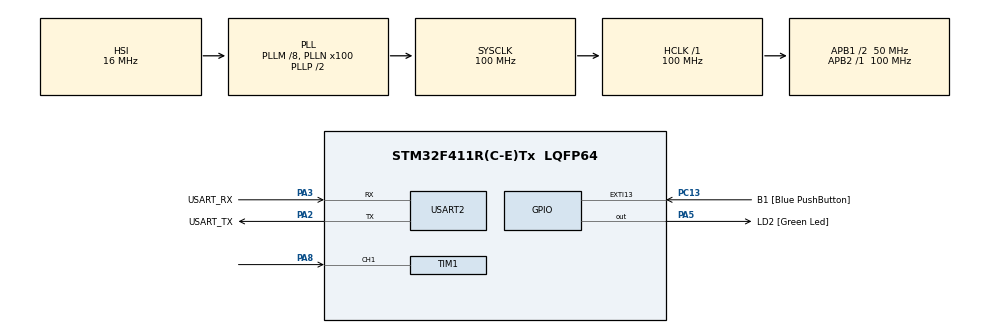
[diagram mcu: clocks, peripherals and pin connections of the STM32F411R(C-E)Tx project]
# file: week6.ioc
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Dma.Request0=TIM1_CH1
Dma.TIM1_CH1.0.Direction=DMA_PERIPH_TO_MEMORY
Dma.TIM1_CH1.0.FIFOMode=DMA_FIFOMODE_DISABLE
Dma.TIM1_CH1.0.Instance=DMA2_Stream1
Dma.TIM1_CH1.0.MemDataAlignment=DMA_MDATAALIGN_HALFWORD
Dma.TIM1_CH1.0.MemInc=DMA_MINC_ENABLE
Dma.TIM1_CH1.0.Mode=DMA_CIRCULAR
Dma.TIM1_CH1.0.PeriphDataAlignment=DMA_PDATAALIGN_HALFWORD
Dma.TIM1_CH1.0.PeriphInc=DMA_PINC_DISABLE
Dma.TIM1_CH1.0.Priority=DMA_PRIORITY_LOW
Mcu.Family=STM32F4
Mcu.Name=STM32F411R(C-E)Tx
Mcu.Package=LQFP64
NVIC.DMA2_Stream1_IRQn=true\:0\:0\:false\:false\:true\:false\:true
NVIC.PriorityGroup=NVIC_PRIORITYGROUP_0
NVIC.TIM1_TRG_COM_TIM11_IRQn=true\:0\:0\:false\:false\:true\:true\:true
PA13.GPIO_Label=TMS
PA13.Mode=Serial_Wire
PA13.Signal=SYS_JTMS-SWDIO
PA14.GPIO_Label=TCK
PA14.Mode=Serial_Wire
PA14.Signal=SYS_JTCK-SWCLK
PA2.GPIO_Label=USART_TX
PA2.Mode=Asynchronous
PA2.Signal=USART2_TX
PA3.GPIO_Label=USART_RX
PA3.Mode=Asynchronous
PA3.Signal=USART2_RX
PA5.GPIO_Label=LD2 [Green Led]
PA5.Signal=GPIO_Output
PA8.Signal=S_TIM1_CH1
PB3.GPIO_Label=SWO
PB3.Signal=SYS_JTDO-SWO
PC13-ANTI_TAMP.GPIO_Label=B1 [Blue PushButton]
PC13-ANTI_TAMP.GPIO_ModeDefaultEXTI=GPIO_MODE_IT_FALLING
PC13-ANTI_TAMP.Signal=GPXTI13
PC14-OSC32_IN.Mode=LSE-External-Oscillator
PC14-OSC32_IN.Signal=RCC_OSC32_IN
PC15-OSC32_OUT.Mode=LSE-External-Oscillator
PC15-OSC32_OUT.Signal=RCC_OSC32_OUT
PH0\ -\ OSC_IN.Mode=HSE-External-Clock-Source
PH0\ -\ OSC_IN.Signal=RCC_OSC_IN
PH1\ -\ OSC_OUT.Mode=HSE-External-Clock-Source
PH1\ -\ OSC_OUT.Signal=RCC_OSC_OUT
ProjectManager.HeapSize=0x200
ProjectManager.StackSize=0x400
ProjectManager.TargetToolchain=STM32CubeIDE
RCC.48MHZClocksFreq_Value=50000000
RCC.AHBFreq_Value=100000000
RCC.APB1CLKDivider=RCC_HCLK_DIV2
RCC.APB1Freq_Value=50000000
RCC.APB1TimFreq_Value=100000000
RCC.APB2Freq_Value=100000000
RCC.APB2TimFreq_Value=100000000
RCC.CortexFreq_Value=100000000
RCC.FLatency-AdvancedSettings=FLASH_LATENCY_3
RCC.HCLKFreq_Value=100000000
RCC.HSE_VALUE=8000000
RCC.HSI_VALUE=16000000
RCC.PLLM=8
RCC.PLLN=100
RCC.SYSCLKFreq_VALUE=100000000
RCC.SYSCLKSource=RCC_SYSCLKSOURCE_PLLCLK
RCC.VCOOutputFreq_Value=200000000
SH.S_TIM1_CH1.0=TIM1_CH1,Input_Capture1_from_TI1
TIM1.Channel-Input_Capture1_from_TI1=TIM_CHANNEL_1
TIM1.ICFilter_CH1=2
TIM1.Prescaler=99
TIM11.Prescaler=99
USART2.VirtualMode=VM_ASYNC
VP_TIM11_VS_ClockSourceINT.Mode=Enable_Timer
VP_TIM1_VS_ClockSourceINT.Mode=Internal
board=NUCLEO-F411RE

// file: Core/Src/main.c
/* USER CODE BEGIN Header */
/**
  ******************************************************************************
  * @file           : main.c
  * @brief          : Main program body
  ******************************************************************************
  * @attention
  *
  * <h2><center>&copy; Copyright (c) 2021 STMicroelectronics.
  * All rights reserved.</center></h2>
  *
  * This software component is licensed by ST under BSD 3-Clause license,
  * the "License"; You may not use this file except in compliance with the
  * License. You may obtain a copy of the License at:
  *                        opensource.org/licenses/BSD-3-Clause
  *
  ******************************************************************************
  */
/* USER CODE END Header */
#include "main.h"

/* USER CODE BEGIN PD */
#define CAPTURENUM 16 //size 16
/* USER CODE END PD */

TIM_HandleTypeDef htim1;
TIM_HandleTypeDef htim11;
DMA_HandleTypeDef hdma_tim1_ch1;

UART_HandleTypeDef huart2;

/* USER CODE BEGIN PV */
//12 P/R, gear reduction 1:64
//DMA Buffer
uint16_t capturedata[CAPTURENUM] = {0};
//for microsecond measurement
uint64_t _micros = 0; //ใส่ _ เพื่อเป็นตัวแปรพิเศษ
//diff time of capture data
int32_t DiffTime[CAPTURENUM-1] = { 0 }; //ใช้ int เพื่อรับค่าติดทั้งบวกและลบได้ บางทีเวลาที่เก็บมาอาจติดลบ //ระยะห่างเวลาเท่ากับ 15 ช่อง
//Mean difftime
float MeanTime =0; //หาค่าเฉลี่ยนความเร็ว

/* USER CODE END PV */

void SystemClock_Config(void);
static void MX_GPIO_Init(void);
static void MX_DMA_Init(void);
static void MX_USART2_UART_Init(void);
static void MX_TIM1_Init(void);
static void MX_TIM11_Init(void);
/* USER CODE BEGIN PFP */
//Read speed of encoder
void encoderSpeedReaderCycle();

uint64_t micros();

/* USER CODE END PFP */

int main(void)
{

  /* MCU Configuration--------------------------------------------------------*/

  /* Reset of all peripherals, Initializes the Flash interface and the Systick. */
  HAL_Init();

  /* Configure the system clock */
  SystemClock_Config();

  /* Initialize all configured peripherals */
  MX_GPIO_Init();
  MX_DMA_Init();
  MX_USART2_UART_Init();
  MX_TIM1_Init();
  MX_TIM11_Init();
  /* USER CODE BEGIN 2 */
  uint64_t timestamp = 0;

  //start microsec timer
  HAL_TIM_Base_Start_IT(&htim11);

  //start input capture in DMA
  HAL_TIM_Base_Start(&htim1);
  HAL_TIM_IC_Start_DMA(&htim1, TIM_CHANNEL_1, (uint32_t*) capturedata, CAPTURENUM);
  //เปลี่ยนจาก uint16_t เป็น 32  // 1 capture เท่ากับ 16 เป็นความยาวเท่ากับตารางของ capturedata

  /* USER CODE END 2 */

  /* Infinite loop */
  /* USER CODE BEGIN WHILE */
  while (1)
  {
	  encoderSpeedReaderCycle();
    /* USER CODE END WHILE */

    /* USER CODE BEGIN 3 */
	  if (micros()-timestamp > 1000000) //microsec
	  {
		  timestamp = micros();
		  HAL_GPIO_TogglePin(LD2_GPIO_Port, LD2_Pin);
	  }
  }
  /* USER CODE END 3 */
}

void SystemClock_Config(void)
{
  RCC_OscInitTypeDef RCC_OscInitStruct = {0};
  RCC_ClkInitTypeDef RCC_ClkInitStruct = {0};

  /** Configure the main internal regulator output voltage
  */
  __HAL_RCC_PWR_CLK_ENABLE();
  __HAL_PWR_VOLTAGESCALING_CONFIG(PWR_REGULATOR_VOLTAGE_SCALE1);
  /** Initializes the RCC Oscillators according to the specified parameters
  * in the RCC_OscInitTypeDef structure.
  */
  RCC_OscInitStruct.OscillatorType = RCC_OSCILLATORTYPE_HSI;
  RCC_OscInitStruct.HSIState = RCC_HSI_ON;
  RCC_OscInitStruct.HSICalibrationValue = RCC_HSICALIBRATION_DEFAULT;
  RCC_OscInitStruct.PLL.PLLState = RCC_PLL_ON;
  RCC_OscInitStruct.PLL.PLLSource = RCC_PLLSOURCE_HSI;
  RCC_OscInitStruct.PLL.PLLM = 8;
  RCC_OscInitStruct.PLL.PLLN = 100;
  RCC_OscInitStruct.PLL.PLLP = RCC_PLLP_DIV2;
  RCC_OscInitStruct.PLL.PLLQ = 4;
  if (HAL_RCC_OscConfig(&RCC_OscInitStruct) != HAL_OK)
  {
    Error_Handler();
  }
  /** Initializes the CPU, AHB and APB buses clocks
  */
  RCC_ClkInitStruct.ClockType = RCC_CLOCKTYPE_HCLK|RCC_CLOCKTYPE_SYSCLK
                              |RCC_CLOCKTYPE_PCLK1|RCC_CLOCKTYPE_PCLK2;
  RCC_ClkInitStruct.SYSCLKSource = RCC_SYSCLKSOURCE_PLLCLK;
  RCC_ClkInitStruct.AHBCLKDivider = RCC_SYSCLK_DIV1;
  RCC_ClkInitStruct.APB1CLKDivider = RCC_HCLK_DIV2;
  RCC_ClkInitStruct.APB2CLKDivider = RCC_HCLK_DIV1;

  if (HAL_RCC_ClockConfig(&RCC_ClkInitStruct, FLASH_LATENCY_3) != HAL_OK)
  {
    Error_Handler();
  }
}

static void MX_TIM1_Init(void)
{

  TIM_ClockConfigTypeDef sClockSourceConfig = {0};
  TIM_MasterConfigTypeDef sMasterConfig = {0};
  TIM_IC_InitTypeDef sConfigIC = {0};

  htim1.Instance = TIM1;
  htim1.Init.Prescaler = 99;
  htim1.Init.CounterMode = TIM_COUNTERMODE_UP;
  htim1.Init.Period = 65535;
  htim1.Init.ClockDivision = TIM_CLOCKDIVISION_DIV1;
  htim1.Init.RepetitionCounter = 0;
  htim1.Init.AutoReloadPreload = TIM_AUTORELOAD_PRELOAD_DISABLE;
  if (HAL_TIM_Base_Init(&htim1) != HAL_OK)
  {
    Error_Handler();
  }
  sClockSourceConfig.ClockSource = TIM_CLOCKSOURCE_INTERNAL;
  if (HAL_TIM_ConfigClockSource(&htim1, &sClockSourceConfig) != HAL_OK)
  {
    Error_Handler();
  }
  if (HAL_TIM_IC_Init(&htim1) != HAL_OK)
  {
    Error_Handler();
  }
  sMasterConfig.MasterOutputTrigger = TIM_TRGO_RESET;
  sMasterConfig.MasterSlaveMode = TIM_MASTERSLAVEMODE_DISABLE;
  if (HAL_TIMEx_MasterConfigSynchronization(&htim1, &sMasterConfig) != HAL_OK)
  {
    Error_Handler();
  }
  sConfigIC.ICPolarity = TIM_INPUTCHANNELPOLARITY_RISING;
  sConfigIC.ICSelection = TIM_ICSELECTION_DIRECTTI;
  sConfigIC.ICPrescaler = TIM_ICPSC_DIV1;
  sConfigIC.ICFilter = 2;
  if (HAL_TIM_IC_ConfigChannel(&htim1, &sConfigIC, TIM_CHANNEL_1) != HAL_OK)
  {
    Error_Handler();
  }

}

static void MX_TIM11_Init(void)
{

  htim11.Instance = TIM11;
  htim11.Init.Prescaler = 99;
  htim11.Init.CounterMode = TIM_COUNTERMODE_UP;
  htim11.Init.Period = 65535;
  htim11.Init.ClockDivision = TIM_CLOCKDIVISION_DIV1;
  htim11.Init.AutoReloadPreload = TIM_AUTORELOAD_PRELOAD_DISABLE;
  if (HAL_TIM_Base_Init(&htim11) != HAL_OK)
  {
    Error_Handler();
  }

}

static void MX_USART2_UART_Init(void)
{

  huart2.Instance = USART2;
  huart2.Init.BaudRate = 115200;
  huart2.Init.WordLength = UART_WORDLENGTH_8B;
  huart2.Init.StopBits = UART_STOPBITS_1;
  huart2.Init.Parity = UART_PARITY_NONE;
  huart2.Init.Mode = UART_MODE_TX_RX;
  huart2.Init.HwFlowCtl = UART_HWCONTROL_NONE;
  huart2.Init.OverSampling = UART_OVERSAMPLING_16;
  if (HAL_UART_Init(&huart2) != HAL_OK)
  {
    Error_Handler();
  }

}

static void MX_DMA_Init(void)
{

  /* DMA controller clock enable */
  __HAL_RCC_DMA2_CLK_ENABLE();

  /* DMA interrupt init */
  /* DMA2_Stream1_IRQn interrupt configuration */
  HAL_NVIC_SetPriority(DMA2_Stream1_IRQn, 0, 0);
  HAL_NVIC_EnableIRQ(DMA2_Stream1_IRQn);

}

static void MX_GPIO_Init(void)
{
  GPIO_InitTypeDef GPIO_InitStruct = {0};

  /* GPIO Ports Clock Enable */
  __HAL_RCC_GPIOC_CLK_ENABLE();
  __HAL_RCC_GPIOH_CLK_ENABLE();
  __HAL_RCC_GPIOA_CLK_ENABLE();
  __HAL_RCC_GPIOB_CLK_ENABLE();

  /*Configure GPIO pin Output Level */
  HAL_GPIO_WritePin(LD2_GPIO_Port, LD2_Pin, GPIO_PIN_RESET);

  /*Configure GPIO pin : B1_Pin */
  GPIO_InitStruct.Pin = B1_Pin;
  GPIO_InitStruct.Mode = GPIO_MODE_IT_FALLING;
  GPIO_InitStruct.Pull = GPIO_NOPULL;
  HAL_GPIO_Init(B1_GPIO_Port, &GPIO_InitStruct);

  /*Configure GPIO pin : LD2_Pin */
  GPIO_InitStruct.Pin = LD2_Pin;
  GPIO_InitStruct.Mode = GPIO_MODE_OUTPUT_PP;
  GPIO_InitStruct.Pull = GPIO_NOPULL;
  GPIO_InitStruct.Speed = GPIO_SPEED_FREQ_LOW;
  HAL_GPIO_Init(LD2_GPIO_Port, &GPIO_InitStruct);

}

/* USER CODE BEGIN 4 */
void encoderSpeedReaderCycle() {
	//get DMA Position form number of data
	uint32_t CapPos =CAPTURENUM -  __HAL_DMA_GET_COUNTER(htim1.hdma[TIM_DMA_ID_CC1]); //ช่องปัจจุบันที่ใส่ได้ = 16 ช่อง - เหลือช่องที่ใส่ไปได้กี่ช่อง \\ช่องที่จะใส่ข้อมูลถัดไป
	//cappos เท่ากับ 8 หมายถึงเก็บค่าในช่อง 0 - 7
	uint32_t sum = 0 ;

	//calculate diff from all buffer
	for(register int i=0 ;i < CAPTURENUM-1;i++)
	{
		DiffTime[i]  = capturedata[(CapPos+1+i)%CAPTURENUM]-capturedata[(CapPos+i)%CAPTURENUM]; //ช่องปัจจุบัน - ช่องอดีต
		//วนครบหนึ่งรอบถึงจะขึ้นเวลา diff ปกติได้
		//ถ้าครบ 1 รอบ ค่าจะคงที่
		//time never go back, but timer can over flow , conpensate that
		if (DiffTime[i] <0)
		{
			DiffTime[i]+=65535;
		} //ข้อเสียคือ ถ้าช้ามาก ๆ จะเกิดการ overflow ไปหลายรอบทำให้เวลาไม่ตรง
		//Sum all 15 Diff
		sum += DiffTime[i];
	}

	//mean all 15 Diff
	MeanTime =sum / (float)(CAPTURENUM-1);
}

uint64_t micros()
{
	return _micros + htim11.Instance->CNT; //counter of timer11
	//CNT = count
}

//interrupt
void HAL_TIM_PeriodElapsedCallback(TIM_HandleTypeDef *htim)
{
	if (htim == &htim11)
	{
		_micros += 65535; //overflow
	}
}

/* USER CODE END 4 */

void Error_Handler(void)
{
  __disable_irq();
  while (1)
  {
  }
}

/************************ (C) COPYRIGHT STMicroelectronics *****END OF FILE****/
